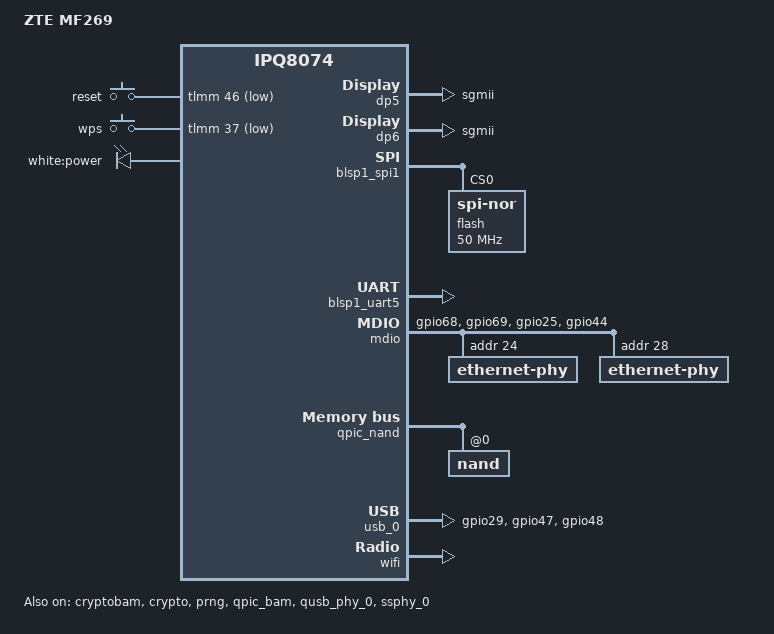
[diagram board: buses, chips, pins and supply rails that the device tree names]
// SPDX-License-Identifier: GPL-2.0-or-later OR MIT
/* Copyright (c) 2021, ZhiPing */

/dts-v1/;

#include "ipq8074.dtsi"
#include "ipq8074-ac-cpu.dtsi"
#include "ipq8074-ac-nss.dtsi"
#include "ipq8074-memory-512m.dtsi"
#include <dt-bindings/gpio/gpio.h>
#include <dt-bindings/input/input.h>

/ {
	#address-cells = <2>;
	#size-cells = <2>;

	model = "ZTE MF269";
	compatible = "zte,mf269", "qcom,ipq8074";
	interrupt-parent = <&intc>;

	aliases {
		led-boot = &led_power;
		led-failsafe = &led_power;
		led-running = &led_power;
		led-upgrade = &led_power;
		serial0 = &blsp1_uart5;
	};

	chosen {
		stdout-path = "serial0:115200n8";
		bootargs-append = " root=/dev/ubiblock0_1";
	};

	reserved-memory {
		/delete-node/ tzapp@4a400000;
		/delete-node/ q6_etr_dump@50f00000;
		/delete-node/ m3_dump@51000000;
	};

	keys {
		compatible = "gpio-keys";

		reset {
			label = "reset";
			linux,code = <KEY_RESTART>;
			gpios = <&tlmm 46 GPIO_ACTIVE_LOW>;
		};

		wps {
			label = "wps";
			linux,code = <KEY_WPS_BUTTON>;
			gpios = <&tlmm 37 GPIO_ACTIVE_LOW>;
		};
	};

	leds {
		compatible = "gpio-leds";

		led_power: power {
			label = "white:power";
			gpio = <&tlmm 56 GPIO_ACTIVE_HIGH>;
		};
	};

	soc {
		dp5: dp5 {
			device_type = "network";
			compatible = "qcom,nss-dp";
			qcom,id = <5>;
			reg = <0x3a003000 0x3fff>;
			qcom,mactype = <1>;
			local-mac-address = [000000000000];
			qcom,link-poll = <1>;
			qcom,phy-mdio-addr = <24>;
			phy-mode = "sgmii";
			mdio-bus = <&mdio>;
		};

		dp6: dp6 {
			device_type = "network";
			compatible = "qcom,nss-dp";
			qcom,id = <6>;
			reg = <0x3a007000 0x3fff>;
			qcom,mactype = <1>;
			local-mac-address = [000000000000];
			qcom,link-poll = <1>;
			qcom,phy-mdio-addr = <28>;
			phy-mode = "sgmii";
			mdio-bus = <&mdio>;
		};
	};
};

&blsp1_spi1 {
	status = "okay";
	pinctrl-0 = <&spi_0_pins>;
	pinctrl-names = "default";
	cs-select = <0>;

	flash@0 {
		compatible = "jedec,spi-nor", "n25q128a11";
		#address-cells = <1>;
		#size-cells = <1>;
		reg = <0>;
		spi-max-frequency = <50000000>;
	};
};

/*
&blsp1_spi6 {
	status = "okay";
	pinctrl-0 = <&spi_5_pins>;
	pinctrl-names = "default";
	cs-select = <0>;

	si3217x@0 {
		compatible = "si3217x";
		num_slic = <1>;
		reg = <0>;
		spi-cpha;
		spi-cpol;
		spi-max-frequency = <960000>;
		pinctrl-0 = <&slic_ctl_pins>;
		pinctrl-names = "default";
		ctl-gpio = <&tlmm 57 0>;
		rst-gpio = <&tlmm 58 0>;
		irq-gpio = <&tlmm 59 0>;
	};
};

&blsp1_i2c5 {
	status = "okay";

	pinctrl-0 = <&i2c_4_pins>;
	pinctrl-names = "default";

	aw9106b@5b {
		compatible = "aw9106b";
		reg = <0x5b>;
		reset-gpio = <&tlmm 54 0>;
	};
};
*/

&blsp1_uart5 {
	status = "okay";
};

&cryptobam {
	status = "okay";
};

&crypto {
	status = "okay";
};

&ess_switch {
	switch_cpu_bmp = <0x1>;  /* cpu port bitmap */
	switch_lan_bmp = <0x3e>; /* lan port bitmap */
	switch_wan_bmp = <0x40>; /* wan port bitmap */
	switch_mac_mode = <0x0>; /* mac mode for uniphy instance0*/
	switch_mac_mode1 = <0xf>; /* mac mode for uniphy instance1*/
	switch_mac_mode2 = <0xf>; /* mac mode for uniphy instance2*/
	bm_tick_mode = <0>; /* bm tick mode */
	tm_tick_mode = <0>; /* tm tick mode */

	qcom,port_phyinfo {
		port@4 {
			port_id = <5>;
			phy_address = <24>;
			port_mac_sel = "QGMAC_PORT";
		};
		port@5 {
			port_id = <6>;
			phy_address = <28>;
			port_mac_sel = "QGMAC_PORT";
		};
	};
	port_scheduler_resource {
		port@0 {
			port_id = <0>;
			ucast_queue = <0 143>;
			mcast_queue = <256 271>;
			l0sp = <0 35>;
			l0cdrr = <0 47>;
			l0edrr = <0 47>;
			l1cdrr = <0 7>;
			l1edrr = <0 7>;
		};
		port@1 {
			port_id = <1>;
			ucast_queue = <144 159>;
			mcast_queue = <272 275>;
			l0sp = <36 39>;
			l0cdrr = <48 63>;
			l0edrr = <48 63>;
			l1cdrr = <8 11>;
			l1edrr = <8 11>;
		};
		port@2 {
			port_id = <2>;
			ucast_queue = <160 175>;
			mcast_queue = <276 279>;
			l0sp = <40 43>;
			l0cdrr = <64 79>;
			l0edrr = <64 79>;
			l1cdrr = <12 15>;
			l1edrr = <12 15>;
		};
		port@3 {
			port_id = <3>;
			ucast_queue = <176 191>;
			mcast_queue = <280 283>;
			l0sp = <44 47>;
			l0cdrr = <80 95>;
			l0edrr = <80 95>;
			l1cdrr = <16 19>;
			l1edrr = <16 19>;
		};
		port@4 {
			port_id = <4>;
			ucast_queue = <192 207>;
			mcast_queue = <284 287>;
			l0sp = <48 51>;
			l0cdrr = <96 111>;
			l0edrr = <96 111>;
			l1cdrr = <20 23>;
			l1edrr = <20 23>;
		};
		port@5 {
			port_id = <5>;
			ucast_queue = <208 223>;
			mcast_queue = <288 291>;
			l0sp = <52 55>;
			l0cdrr = <112 127>;
			l0edrr = <112 127>;
			l1cdrr = <24 27>;
			l1edrr = <24 27>;
		};
		port@6 {
			port_id = <6>;
			ucast_queue = <224 239>;
			mcast_queue = <292 295>;
			l0sp = <56 59>;
			l0cdrr = <128 143>;
			l0edrr = <128 143>;
			l1cdrr = <28 31>;
			l1edrr = <28 31>;
		};
		port@7 {
			port_id = <7>;
			ucast_queue = <240 255>;
			mcast_queue = <296 299>;
			l0sp = <60 63>;
			l0cdrr = <144 159>;
			l0edrr = <144 159>;
			l1cdrr = <32 35>;
			l1edrr = <32 35>;
		};
	};
	port_scheduler_config {
		port@0 {
			port_id = <0>;
			l1scheduler {
				group@0 {
					sp = <0 1>; /*L0 SPs*/
					/*cpri cdrr epri edrr*/
					cfg = <0 0 0 0>;
				};
			};
			l0scheduler {
				group@0 {
					/*unicast queues*/
					ucast_queue = <0 4 8>;
					/*multicast queues*/
					mcast_queue = <256 260>;
					/*sp cpri cdrr epri edrr*/
					cfg = <0 0 0 0 0>;
				};
				group@1 {
					ucast_queue = <1 5 9>;
					mcast_queue = <257 261>;
					cfg = <0 1 1 1 1>;
				};
				group@2 {
					ucast_queue = <2 6 10>;
					mcast_queue = <258 262>;
					cfg = <0 2 2 2 2>;
				};
				group@3 {
					ucast_queue = <3 7 11>;
					mcast_queue = <259 263>;
					cfg = <0 3 3 3 3>;
				};
			};
		};
		port@1 {
			port_id = <1>;
			l1scheduler {
				group@0 {
					sp = <36>;
					cfg = <0 8 0 8>;
				};
				group@1 {
					sp = <37>;
					cfg = <1 9 1 9>;
				};
			};
			l0scheduler {
				group@0 {
					ucast_queue = <144>;
					ucast_loop_pri = <16>;
					mcast_queue = <272>;
					mcast_loop_pri = <4>;
					cfg = <36 0 48 0 48>;
				};
			};
		};
		port@2 {
			port_id = <2>;
			l1scheduler {
				group@0 {
					sp = <40>;
					cfg = <0 12 0 12>;
				};
				group@1 {
					sp = <41>;
					cfg = <1 13 1 13>;
				};
			};
			l0scheduler {
				group@0 {
					ucast_queue = <160>;
					ucast_loop_pri = <16>;
					mcast_queue = <276>;
					mcast_loop_pri = <4>;
					cfg = <40 0 64 0 64>;
				};
			};
		};
		port@3 {
			port_id = <3>;
			l1scheduler {
				group@0 {
					sp = <44>;
					cfg = <0 16 0 16>;
				};
				group@1 {
					sp = <45>;
					cfg = <1 17 1 17>;
				};
			};
			l0scheduler {
				group@0 {
					ucast_queue = <176>;
					ucast_loop_pri = <16>;
					mcast_queue = <280>;
					mcast_loop_pri = <4>;
					cfg = <44 0 80 0 80>;
				};
			};
		};
		port@4 {
			port_id = <4>;
			l1scheduler {
				group@0 {
					sp = <48>;
					cfg = <0 20 0 20>;
				};
				group@1 {
					sp = <49>;
					cfg = <1 21 1 21>;
				};
			};
			l0scheduler {
				group@0 {
					ucast_queue = <192>;
					ucast_loop_pri = <16>;
					mcast_queue = <284>;
					mcast_loop_pri = <4>;
					cfg = <48 0 96 0 96>;
				};
			};
		};
		port@5 {
			port_id = <5>;
			l1scheduler {
				group@0 {
					sp = <52>;
					cfg = <0 24 0 24>;
				};
				group@1 {
					sp = <53>;
					cfg = <1 25 1 25>;
				};
			};
			l0scheduler {
				group@0 {
					ucast_queue = <208>;
					ucast_loop_pri = <16>;
					mcast_queue = <288>;
					mcast_loop_pri = <4>;
					cfg = <52 0 112 0 112>;
				};
			};
		};
		port@6 {
			port_id = <6>;
			l1scheduler {
				group@0 {
					sp = <56>;
					cfg = <0 28 0 28>;
				};
				group@1 {
					sp = <57>;
					cfg = <1 29 1 29>;
				};
			};
			l0scheduler {
				group@0 {
					ucast_queue = <224>;
					ucast_loop_pri = <16>;
					mcast_queue = <292>;
					mcast_loop_pri = <4>;
					cfg = <56 0 128 0 128>;
				};
			};
		};
		port@7 {
			port_id = <7>;
			l1scheduler {
				group@0 {
					sp = <60>;
					cfg = <0 32 0 32>;
				};
				group@1 {
					sp = <61>;
					cfg = <1 33 1 33>;
				};
			};
			l0scheduler {
				group@0 {
					ucast_queue = <240>;
					ucast_loop_pri = <16>;
					mcast_queue = <296>;
					cfg = <60 0 144 0 144>;
				};
			};
		};
	};
};

&mdio {
	status = "okay";

	pinctrl-0 = <&mdio_pins>;
	pinctrl-names = "default";
	//reset-gpios = <&tlmm 37 GPIO_ACTIVE_LOW>;

	ethernet-phy@4 {
		reg = <24>;
		//reset-gpios = <&tlmm 44 GPIO_ACTIVE_LOW>;
	};

	ethernet-phy@5 {
		reg = <28>;
		//reset-gpios = <&tlmm 25 GPIO_ACTIVE_LOW>;
	};
};

&prng {
	status = "okay";
};

&qpic_bam {
	status = "okay";
};

&qpic_nand {
	status = "okay";

	nand@0 {
		reg = <0>;
		nand-ecc-strength = <4>;
		nand-ecc-step-size = <512>;
		nand-bus-width = <8>;

		partitions {
			compatible = "qcom,smem-part";
		};
	};
};

&qusb_phy_0 {
	status = "okay";
};

&ssphy_0 {
	status = "okay";
};

&tlmm {
	i2c_4_pins: i2c-4-pinmux {
		pins = "gpio21", "gpio22";
		function = "blsp4_i2c1";
		drive-strength = <8>;
		bias-disable;
	};

	slic_ctl_pins: slic_ctl_pins {
		mux {
			pins = "gpio59";
			function = "gpio";
			bias-pull-up;
		};
	};

	spi_5_pins: spi-5-pins {
		pins = "gpio0", "gpio2", "gpio9", "gpio16";
		function = "blsp5_spi";
		drive-strength = <8>;
		bias-disable;
	};

	mdio_pins: mdio_pinmux {
		mux_0 {
			pins = "gpio68";
			function = "mdc";
			drive-strength = <8>;
			bias-pull-up;
		};

		mux_1 {
			pins = "gpio69";
			function = "mdio";
			drive-strength = <8>;
			bias-pull-up;
		};

		mux_2 {
			pins = "gpio25";
			function = "gpio";
			bias-pull-up;
		};

		mux_3 {
			pins = "gpio44";
			function = "gpio";
			bias-pull-up;
		};
	};

	usb_vbus_pins: usb_vbus_pins {
		mux {
			pins = "gpio29";
			function = "gpio";
			drive-strength = <8>;
			bias-disable;
			output-high;
		};
	};

	usb_cc_pins: usb_cc_pins {
		mux {
			pins = "gpio47", "gpio48";
			function = "gpio";
			drive-strength = <8>;
			bias-disable;
			output-high;
		};
	};
};

&usb_0 {
	pinctrl-0 = <&usb_vbus_pins &usb_cc_pins>;
	pinctrl-names = "default";
	status = "okay";
};

&wifi {
	status = "okay";

	qcom,board_id = <658>;
	qcom,ath11k-calibration-variant = "ZTE-MF269";
};
